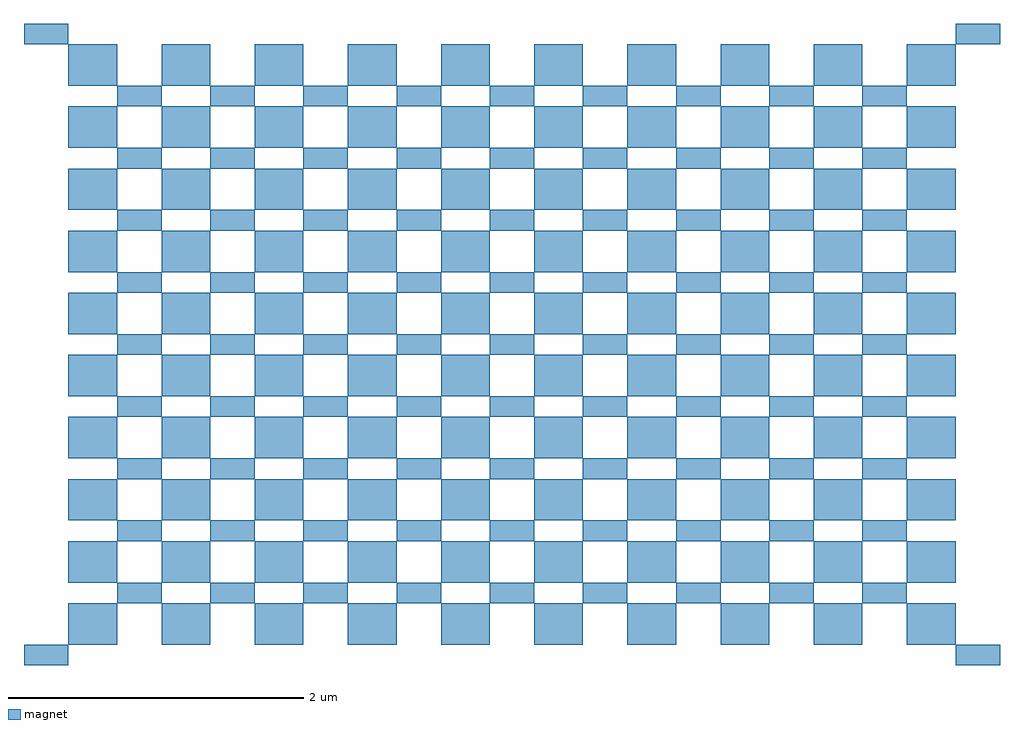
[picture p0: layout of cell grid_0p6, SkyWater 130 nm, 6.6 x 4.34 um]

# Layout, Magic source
magic
tech sky130A
magscale 1 2
<< magnet >>
rect 9 706 69 734
rect 1269 706 1329 734
rect 69 650 135 706
rect 195 650 261 706
rect 321 650 387 706
rect 447 650 513 706
rect 573 650 639 706
rect 699 650 765 706
rect 825 650 891 706
rect 951 650 1017 706
rect 1077 650 1143 706
rect 1203 650 1269 706
rect 135 622 195 650
rect 261 622 321 650
rect 387 622 447 650
rect 513 622 573 650
rect 639 622 699 650
rect 765 622 825 650
rect 891 622 951 650
rect 1017 622 1077 650
rect 1143 622 1203 650
rect 69 566 135 622
rect 195 566 261 622
rect 321 566 387 622
rect 447 566 513 622
rect 573 566 639 622
rect 699 566 765 622
rect 825 566 891 622
rect 951 566 1017 622
rect 1077 566 1143 622
rect 1203 566 1269 622
rect 135 538 195 566
rect 261 538 321 566
rect 387 538 447 566
rect 513 538 573 566
rect 639 538 699 566
rect 765 538 825 566
rect 891 538 951 566
rect 1017 538 1077 566
rect 1143 538 1203 566
rect 69 482 135 538
rect 195 482 261 538
rect 321 482 387 538
rect 447 482 513 538
rect 573 482 639 538
rect 699 482 765 538
rect 825 482 891 538
rect 951 482 1017 538
rect 1077 482 1143 538
rect 1203 482 1269 538
rect 135 454 195 482
rect 261 454 321 482
rect 387 454 447 482
rect 513 454 573 482
rect 639 454 699 482
rect 765 454 825 482
rect 891 454 951 482
rect 1017 454 1077 482
rect 1143 454 1203 482
rect 69 398 135 454
rect 195 398 261 454
rect 321 398 387 454
rect 447 398 513 454
rect 573 398 639 454
rect 699 398 765 454
rect 825 398 891 454
rect 951 398 1017 454
rect 1077 398 1143 454
rect 1203 398 1269 454
rect 135 370 195 398
rect 261 370 321 398
rect 387 370 447 398
rect 513 370 573 398
rect 639 370 699 398
rect 765 370 825 398
rect 891 370 951 398
rect 1017 370 1077 398
rect 1143 370 1203 398
rect 69 314 135 370
rect 195 314 261 370
rect 321 314 387 370
rect 447 314 513 370
rect 573 314 639 370
rect 699 314 765 370
rect 825 314 891 370
rect 951 314 1017 370
rect 1077 314 1143 370
rect 1203 314 1269 370
rect 135 286 195 314
rect 261 286 321 314
rect 387 286 447 314
rect 513 286 573 314
rect 639 286 699 314
rect 765 286 825 314
rect 891 286 951 314
rect 1017 286 1077 314
rect 1143 286 1203 314
rect 69 230 135 286
rect 195 230 261 286
rect 321 230 387 286
rect 447 230 513 286
rect 573 230 639 286
rect 699 230 765 286
rect 825 230 891 286
rect 951 230 1017 286
rect 1077 230 1143 286
rect 1203 230 1269 286
rect 135 202 195 230
rect 261 202 321 230
rect 387 202 447 230
rect 513 202 573 230
rect 639 202 699 230
rect 765 202 825 230
rect 891 202 951 230
rect 1017 202 1077 230
rect 1143 202 1203 230
rect 69 146 135 202
rect 195 146 261 202
rect 321 146 387 202
rect 447 146 513 202
rect 573 146 639 202
rect 699 146 765 202
rect 825 146 891 202
rect 951 146 1017 202
rect 1077 146 1143 202
rect 1203 146 1269 202
rect 135 118 195 146
rect 261 118 321 146
rect 387 118 447 146
rect 513 118 573 146
rect 639 118 699 146
rect 765 118 825 146
rect 891 118 951 146
rect 1017 118 1077 146
rect 1143 118 1203 146
rect 69 62 135 118
rect 195 62 261 118
rect 321 62 387 118
rect 447 62 513 118
rect 573 62 639 118
rect 699 62 765 118
rect 825 62 891 118
rect 951 62 1017 118
rect 1077 62 1143 118
rect 1203 62 1269 118
rect 135 34 195 62
rect 261 34 321 62
rect 387 34 447 62
rect 513 34 573 62
rect 639 34 699 62
rect 765 34 825 62
rect 891 34 951 62
rect 1017 34 1077 62
rect 1143 34 1203 62
rect 69 -22 135 34
rect 195 -22 261 34
rect 321 -22 387 34
rect 447 -22 513 34
rect 573 -22 639 34
rect 699 -22 765 34
rect 825 -22 891 34
rect 951 -22 1017 34
rect 1077 -22 1143 34
rect 1203 -22 1269 34
rect 135 -50 195 -22
rect 261 -50 321 -22
rect 387 -50 447 -22
rect 513 -50 573 -22
rect 639 -50 699 -22
rect 765 -50 825 -22
rect 891 -50 951 -22
rect 1017 -50 1077 -22
rect 1143 -50 1203 -22
rect 69 -106 135 -50
rect 195 -106 261 -50
rect 321 -106 387 -50
rect 447 -106 513 -50
rect 573 -106 639 -50
rect 699 -106 765 -50
rect 825 -106 891 -50
rect 951 -106 1017 -50
rect 1077 -106 1143 -50
rect 1203 -106 1269 -50
rect 9 -134 69 -106
rect 1269 -134 1329 -106
<< end >>
